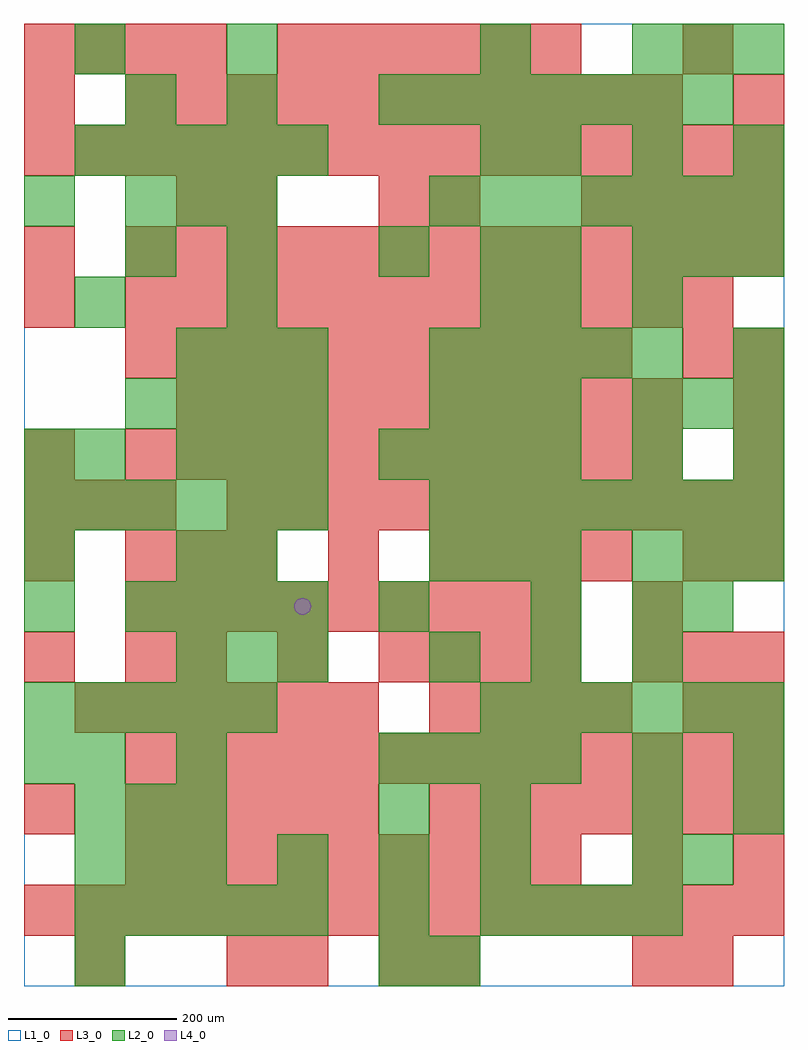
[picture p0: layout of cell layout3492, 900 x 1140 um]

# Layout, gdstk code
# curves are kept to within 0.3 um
import gdstk
lib = gdstk.Library(unit=1e-6, precision=1e-09)
def R(c, l, rs):  # rectangles x0, y0, x1, y1
    for r in rs: c.add(gdstk.rectangle(r[:2], r[2:], *l))
def A(c, l, x, y, w, h, nx, ny, dx, dy):  # array of equal rectangles
    R(c, l, [(x+i*dx, y+j*dy, x+i*dx+w, y+j*dy+h) for i in range(nx) for j in range(ny)])
def P(c, l, *ps):  # polygons
    for p in ps: c.add(gdstk.Polygon(p, *l))
L1_0 = (1, 0)
L2_0 = (2, 0)
L3_0 = (3, 0)
L4_0 = (4, 0)

layout3492 = lib.new_cell('layout3492')
R(layout3492, L1_0, [(0,0,900,1140)])
A(layout3492, L2_0, 60, 60, 60, 60, 5, 2, 60, 900)
A(layout3492, L2_0, 540, 60, 60, 60, 4, 1, 60, 0)
A(layout3492, L2_0, 60, 120, 60, 60, 3, 2, 60, 60)
A(layout3492, L2_0, 300, 120, 60, 60, 3, 1, 120, 0)
A(layout3492, L2_0, 720, 120, 60, 60, 1, 3, 0, 60)
A(layout3492, L2_0, 420, 240, 60, 60, 4, 2, 60, 360)
A(layout3492, L2_0, 0, 300, 60, 60, 5, 1, 60, 0)
A(layout3492, L2_0, 540, 300, 60, 60, 6, 1, 60, 0)
A(layout3492, L2_0, 180, 360, 60, 60, 3, 2, 60, 240)
A(layout3492, L2_0, 480, 360, 60, 60, 3, 1, 120, 0)
A(layout3492, L2_0, 120, 420, 60, 60, 4, 2, 60, 240)
A(layout3492, L2_0, 720, 420, 60, 60, 1, 3, 0, 180)
A(layout3492, L2_0, 480, 480, 60, 60, 3, 2, 60, 180)
A(layout3492, L2_0, 720, 480, 60, 60, 3, 3, 60, 180)
A(layout3492, L2_0, 0, 540, 60, 60, 6, 1, 60, 0)
A(layout3492, L2_0, 480, 540, 60, 60, 7, 2, 60, 360)
A(layout3492, L2_0, 180, 720, 60, 60, 3, 1, 60, 0)
A(layout3492, L2_0, 480, 720, 60, 60, 5, 1, 60, 0)
A(layout3492, L2_0, 540, 840, 60, 60, 1, 3, 0, 120)
A(layout3492, L2_0, 120, 900, 60, 60, 3, 1, 60, 0)
A(layout3492, L2_0, 600, 960, 60, 60, 3, 1, 120, 0)
A(layout3492, L2_0, 420, 1020, 60, 60, 7, 1, 60, 0)
A(layout3492, L2_0, 720, 1080, 60, 60, 3, 1, 60, 0)
R(layout3492, L2_0, [(60,0,120,60), (420,0,480,60), (480,0,540,60), (420,60,480,120), (780,120,840,180), (420,180,480,240), (540,180,600,240), (840,180,900,240), (0,240,60,300), (60,240,120,300), (180,240,240,300), (840,240,900,300), (0,420,60,480), (420,420,480,480), (600,420,660,480), (780,420,840,480), (0,480,60,540), (180,480,240,540), (240,480,300,540), (0,600,60,660), (60,600,120,660), (840,600,900,660), (840,720,900,780), (60,780,120,840), (240,780,300,840), (540,780,600,840), (600,780,660,840), (120,840,180,900), (240,840,300,900), (420,840,480,900), (600,840,660,900), (0,900,60,960), (120,1020,180,1080), (240,1020,300,1080), (60,1080,120,1140), (240,1080,300,1140)])
A(layout3492, L3_0, 0, 60, 60, 60, 15, 2, 60, 900)
A(layout3492, L3_0, 120, 120, 60, 60, 9, 2, 60, 300)
A(layout3492, L3_0, 840, 120, 60, 60, 1, 3, 0, 180)
A(layout3492, L3_0, 120, 180, 60, 60, 5, 1, 60, 0)
A(layout3492, L3_0, 480, 180, 60, 60, 7, 1, 60, 0)
A(layout3492, L3_0, 120, 240, 60, 60, 13, 2, 60, 600)
A(layout3492, L3_0, 60, 300, 60, 60, 6, 1, 60, 0)
A(layout3492, L3_0, 480, 300, 60, 60, 4, 2, 60, 180)
A(layout3492, L3_0, 0, 360, 60, 60, 1, 3, 0, 120)
A(layout3492, L3_0, 180, 360, 60, 60, 3, 1, 120, 0)
A(layout3492, L3_0, 480, 360, 60, 60, 3, 1, 60, 0)
A(layout3492, L3_0, 720, 360, 60, 60, 3, 1, 60, 0)
A(layout3492, L3_0, 120, 480, 60, 60, 3, 1, 60, 0)
A(layout3492, L3_0, 0, 540, 60, 60, 3, 1, 60, 0)
A(layout3492, L3_0, 240, 540, 60, 60, 11, 1, 60, 0)
A(layout3492, L3_0, 120, 600, 60, 60, 11, 2, 60, 420)
A(layout3492, L3_0, 840, 600, 60, 60, 1, 3, 0, 60)
A(layout3492, L3_0, 180, 660, 60, 60, 10, 1, 60, 0)
A(layout3492, L3_0, 120, 720, 60, 60, 10, 1, 60, 0)
A(layout3492, L3_0, 120, 780, 60, 60, 12, 1, 60, 0)
A(layout3492, L3_0, 660, 900, 60, 60, 4, 1, 60, 0)
A(layout3492, L3_0, 0, 1080, 60, 60, 4, 1, 60, 0)
A(layout3492, L3_0, 300, 1080, 60, 60, 6, 1, 60, 0)
R(layout3492, L3_0, [(60,0,120,60), (240,0,300,60), (300,0,360,60), (420,0,480,60), (480,0,540,60), (720,0,780,60), (780,0,840,60), (720,120,780,180), (0,180,60,240), (780,300,840,360), (120,360,180,420), (720,420,780,480), (360,480,420,540), (780,480,840,540), (780,720,840,780), (0,780,60,840), (0,840,60,900), (180,900,240,960), (240,900,300,960), (420,900,480,960), (480,900,540,960), (0,1020,60,1080), (840,1020,900,1080), (780,1080,840,1140)])
P(layout3492, L4_0, [(340,450),(339.239,453.827),(337.071,457.071),(333.827,459.239),(330,460),(326.173,459.239),(322.929,457.071),(320.761,453.827),(320,450),(320.761,446.173),(322.929,442.929),(326.173,440.761),(330,440),(333.827,440.761),(337.071,442.929),(339.239,446.173)])

lib.write_gds('layout3492.gds')
